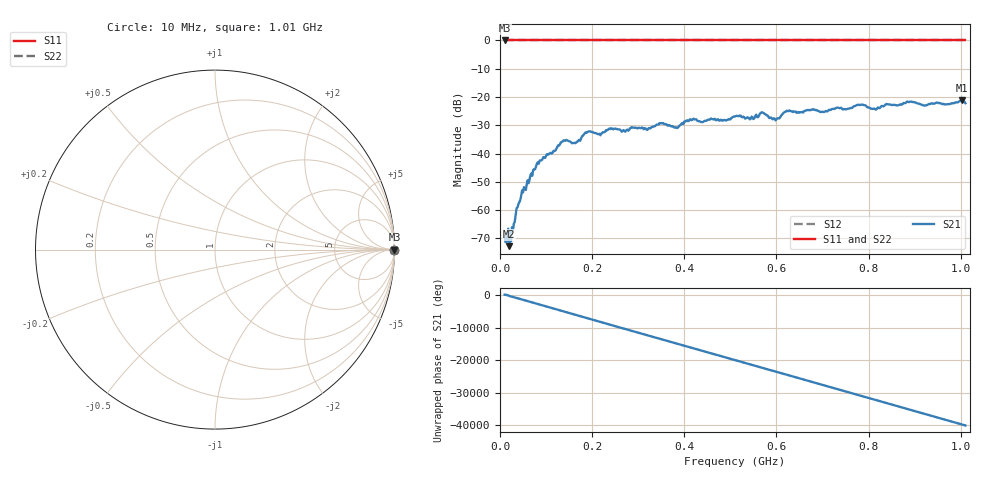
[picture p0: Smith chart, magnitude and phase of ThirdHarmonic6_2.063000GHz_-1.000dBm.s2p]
! 8/17/2025 12:43:21 AM
! C:\ANRITSUVNA\TEMP\TEMP.S2P
! CHANNEL.1
! TR.MEASUREMENT
! RAW.DATA
! RF.CORRECTION.OFF
! AVERAGING.OFF
! IF.BANDWIDTH: 5KHZ
! SWEEPTYPE:  FREQ.SWEEP(Linear)
! Reference Plane Port Info
! PORT:  PORT1  PORT2
! DISTANCE:  0  m  0  m
! TIME:  0  s  0  s
! PHASE.OFFSET:  0  deg.  0  deg.
! LOSS:  0  dB  0  dB
! REF.LOSS:  0  dB  0  dB
! REF.FREQ:  0  Hz  0  Hz
! Power Info
! POWER:  -20  dBm  -20  dBm
! EFF.POWER:  -20  dBm  -20  dBm
! SOURCE.ATTEN:  0  dB  0  dB
! TEST.ATTEN:  0  dB  0  dB
# GHZ S RI R 50.0
! FREQ.GHZ  S11RE  S11IM  S21RE  S21IM  S12RE  S12IM  S22RE  S22IM
!; PortSelection: Port_12
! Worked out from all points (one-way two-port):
!   501 points, 10 MHz to 1.01 GHz, reference 50 ohm
!   highest |S21| = -21.21 dB at 1.002 GHz (marker M1); lowest = -72.8 dB at 20 MHz (marker M2)
!   lowest |S11| = 0.0 dB at 10 MHz (marker M3)
!   |S11| at or under -10 dB: nowhere
!   |S22| runs from 0.0 to 0.0 dB; largest |S21 - S12| = 1.1
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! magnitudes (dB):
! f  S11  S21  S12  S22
! 10 MHz  0.0  -69.1  0.0  0.0
! 20 MHz  0.0  -72.8  0.0  0.0
! 24 MHz  0.0  -71.0  0.0  0.0
! 38 MHz  0.0  -59.0  0.0  0.0
! 50 MHz  0.0  -53.8  0.0  0.0
! 84 MHz  0.0  -43.6  0.0  0.0
! 136 MHz  0.0  -35.7  0.0  0.0
! 160 MHz  0.0  -36.3  0.0  0.0
! 178 MHz  0.0  -33.9  0.0  0.0
! 194 MHz  0.0  -32.1  0.0  0.0
! 344 MHz  0.0  -29.8  0.0  0.0
! 382 MHz  0.0  -30.7  0.0  0.0
! 416 MHz  0.0  -28.2  0.0  0.0
! 510 MHz  0.0  -26.9  0.0  0.0
! 546 MHz  0.0  -26.9  0.0  0.0
! 570 MHz  0.0  -25.5  0.0  0.0
! 596 MHz  0.0  -27.6  0.0  0.0
! 624 MHz  0.0  -24.9  0.0  0.0
! 678 MHz  0.0  -24.5  0.0  0.0
! 844 MHz  0.0  -22.7  0.0  0.0
! 1.002 GHz  0.0  -21.2  0.0  0.0
! 1.01 GHz  0.0  -22.2  0.0  0.0
